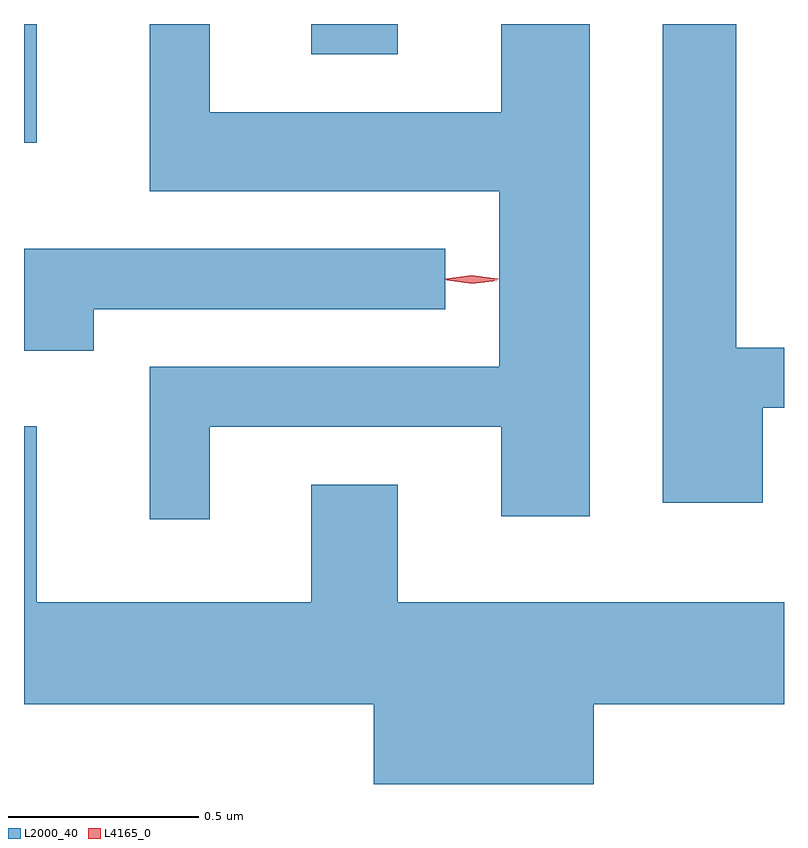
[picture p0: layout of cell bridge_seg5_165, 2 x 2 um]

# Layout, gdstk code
import gdstk
lib = gdstk.Library(unit=1e-6, precision=1e-09)
def R(c, l, rs):  # rectangles x0, y0, x1, y1
    for r in rs: c.add(gdstk.rectangle(r[:2], r[2:], *l))
def P(c, l, *ps):  # polygons
    for p in ps: c.add(gdstk.Polygon(p, *l))
L2000_40 = (2000, 40)
L4165_0 = (4165, 0)

bridge_seg5_165 = lib.new_cell('bridge_seg5_165')
R(bridge_seg5_165, L2000_40, [(1111.255,1460.493,1111.289,1460.806), (1112.011,1460.726,1112.239,1460.806)])
P(bridge_seg5_165, L2000_40, [(1113.199,1459.796),(1113.255,1459.796),(1113.255,1459.954),(1113.129,1459.954),(1113.129,1460.806),(1112.936,1460.806),(1112.936,1459.546),(1113.199,1459.546)],
  [(1111.744,1459.746),(1112.511,1459.746),(1112.511,1459.511),(1112.744,1459.511),(1112.744,1460.806),(1112.511,1460.806),(1112.511,1460.574),(1111.744,1460.574),(1111.744,1460.806),(1111.586,1460.806),(1111.586,1460.366),(1112.506,1460.366),(1112.506,1459.904),(1111.586,1459.904),(1111.586,1459.503),(1111.744,1459.503)],
  [(1111.439,1460.056),(1112.363,1460.056),(1112.363,1460.214),(1111.255,1460.214),(1111.255,1459.946),(1111.439,1459.946)],
  [(1112.754,1459.016),(1113.255,1459.016),(1113.255,1459.284),(1112.239,1459.284),(1112.239,1459.594),(1112.011,1459.594),(1112.011,1459.284),(1111.289,1459.284),(1111.289,1459.748),(1111.255,1459.748),(1111.255,1459.016),(1112.176,1459.016),(1112.176,1458.806),(1112.754,1458.806)])
P(bridge_seg5_165, L4165_0, [(1112.433,1460.125),(1112.364,1460.134),(1112.364,1460.135),(1112.364,1460.136),(1112.433,1460.145),(1112.502,1460.136),(1112.503,1460.135),(1112.502,1460.134)],
  [(1112.434,1460.122),(1112.368,1460.132),(1112.367,1460.133),(1112.368,1460.134),(1112.434,1460.142),(1112.5,1460.131),(1112.5,1460.131),(1112.5,1460.13)])

lib.write_gds('bridge_seg5_165.gds')
